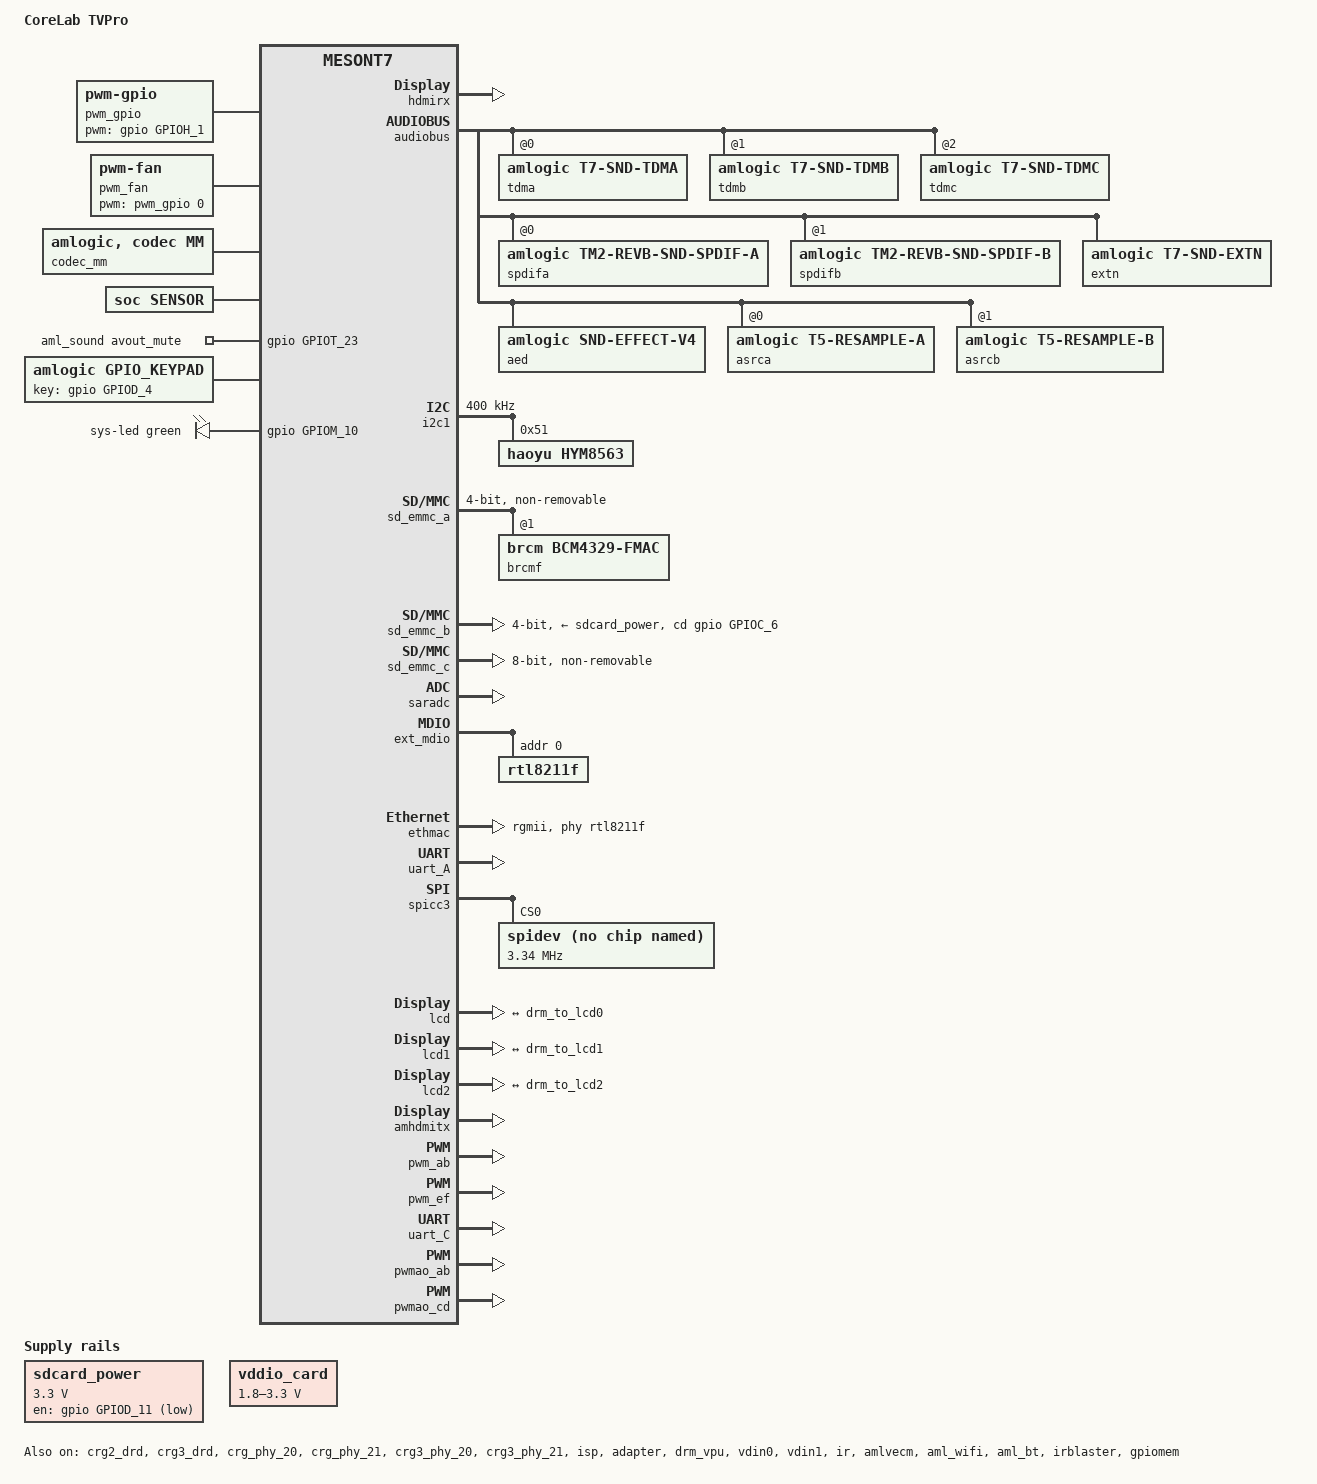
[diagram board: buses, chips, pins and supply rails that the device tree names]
// SPDX-License-Identifier: (GPL-2.0+ OR MIT)
/*
 * Copyright (c) 2023 Khadas Technology Co.,Ltd. All rights reserved.
 * Copyright (c) 2025 retro98boy <retro98boy@qq.com>
 */

/*
 * Base on https://github.com/khadas/common_drivers/blob/khadas-vims-5.15.y/arch/arm64/boot/dts/amlogic/kvim4.dts
 * branch: khadas-vims-5.15.y
 * Date: Aug 22, 2024
 * Commit: e66ced74ddc2fc7148ac0a180e3e15d5809c8e62
 */

/dts-v1/;

#include "mesont7.dtsi"
#include "partition_debian_linux.dtsi"
#include <dt-bindings/input/input.h>
#include "khadas-panel.dtsi"
#include "mesont7_drm.dtsi"
#include "meson-ir-map-linux.dtsi"
#include <dt-bindings/leds/common.h>

/ {
	model = "CoreLab TVPro";
	amlogic-dt-id = "t7-a311d2-tvpro-8g";
	compatible = "t7-a311d2-tvpro-8g";
	interrupt-parent = <&gic>;
	#address-cells = <2>;
	#size-cells = <2>;

	aliases {
		serial0 = &uart_A;
		serial1 = &uart_C;
		serial2 = &uart_B;
		serial3 = &uart_D;
		serial4 = &uart_E;
		serial5 = &uart_F;
		i2c0 = &i2c0;
		i2c1 = &i2c1;
		i2c2 = &i2c2;
		i2c3 = &i2c3;
		i2c4 = &i2c4;
		i2c5 = &i2c5;
		i2c6 = &i2c_AO_A;
		i2c7 = &i2c_AO_B;
		spi0 = &spifc;
		spi1 = &spicc0;
		spi2 = &spicc1;
		spi3 = &spicc2;
		spi4 = &spicc3;
		spi5 = &spicc4;
		spi6 = &spicc5;
		tsensor0 = &a73_tsensor;
		tsensor1 = &a53_tsensor;
		tsensor2 = &gpu_tsensor;
		tsensor3 = &nna_tsensor;
		tsensor4 = &hevc_tsensor;
		tsensor5 = &vpu_tsensor;
		mmc0 = &sd_emmc_c;
		mmc1 = &sd_emmc_b;
		mmc2 = &sd_emmc_a;
		rtc0 = &hym8563;
		rtc99 = &vrtc;
	};

	memory@00000000 {
		device_type = "memory";
		linux,usable-memory = <0x00000000 0x00000000 0x00000000 0xE0000000
								0x00000001 0x00000000 0x00000000 0xE0000000
								0x00000002 0x00000000 0x00000000 0x40000000>;
	};

	reserved-memory {
		#address-cells = <2>;
		#size-cells = <2>;
		ranges;

		ramdump_bl33z@00000000 {
			reg = <0x0 0x0 0x0 0x1800000>; /* 0 ~ 24MiB */
			status = "disabled";
		};

		/* global autoconfigured region for contiguous allocations */
		ramoops@0x07400000 {
			compatible = "ramoops";
			reg = <0x0 0x07400000 0x0 0x00100000>;
			record-size = <0x20000>;
			console-size = <0x40000>;
			ftrace-size = <0x80000>;
			pmsg-size = <0x20000>;
		};

		dmc_reserved: linux,dmc_monitor {
			compatible = "amlogic,dmc_monitor-reserved";
			reg = <0x0 0x0 0x0 0x80000>;
		};

		debug_reserved: linux,iotrace {
			compatible = "amlogic, iotrace";
			reg = <0x0 0x04f00000 0x0 0x00100000>;
			io-size = <0x1b000>;
			sched-size = <0x2000>;
			irq-size = <0x1000>;
			smc-size = <0x1000>;
			misc-size = <0x1000>;
		};

		secmon_reserved: linux,secmon {
			compatible = "shared-dma-pool";
			/* reusable; */
			no-map;
			size = <0x0 0x3400000>;
			alignment = <0x0 0x400000>;
			alloc-ranges = <0x0 0x05000000 0x0 0x3400000>;
		};

		dsp_fw_reserved0: linux,dsp_fw0 {
			compatible = "amlogic, dsp";
			reusable;
			size = <0x0 0x800000>;
			reg = <0x0 0x40000000 0x0 0x800000>;
		};

		dsp_fw_reserved1: linux,dsp_fw1 {
			compatible = "amlogic, dsp";
			reusable;
			size = <0x0 0x800000>;
			reg = <0x0 0x40800000 0x0 0x800000>;
		};

		/*
		dsp_shm_reserved: linux,dsp_shm {
			compatible = "dspshmem";
			reg = <0x0 0x40820000 0x0 0x80000>;
			size = <0x80000>;
		};
		*/

		logo_reserved: linux,meson-fb {
			compatible = "amlogic, meson-fb";
			reusable;
			size = <0x0 0x800000>;
			alignment = <0x0 0x400000>;
			reg = <0x0 0x3f800000 0x0 0x800000>;
		};

		codec_mm_cma: linux,codec_mm_cma {
			compatible = "shared-dma-pool";
			reusable;
			/* ion_codec_mm max can alloc size 80M */
			size = <0x0 0x1fc00000>;
			alignment = <0x0 0x400000>;
			linux,contiguous-region;
			alloc-ranges = <0x0 0x0 0x0 0xe0000000>;
			clear-map;
		};

		ge2d_cma_reserved: linux,ge2d_cma {
			compatible = "shared-dma-pool";
			reusable;
			status = "okay";
			size = <0x0 0x1800000>;
			alignment = <0x0 0x400000>;
		};

		/* di CMA pool */
		di_cma_reserved: linux,di_cma {
			compatible = "shared-dma-pool";
			reusable;
			/* buffer_size = 3621952(yuv422 8bit)
			 *  | 4736064(yuv422 10bit)
			 *  | 4074560(yuv422 10bit full pack mode)
			 * 10 x 3621952 = 34.6M(0x23) support 8bit
			 * 10 x 4736064 = 45.2M(0x2e) support 12bit
			 * 10 x 4074560 = 40M(0x28) support 10bit
			 */
			/* size = <0x0 0x0B000000>; */
			size = <0x0 0x0>;
			alignment = <0x0 0x400000>;
			alloc-ranges = <0x0 0x0 0x0 0xe0000000>;
		};

		/* POST PROCESS MANAGER */
		ppmgr_reserved: linux,ppmgr {
			compatible = "shared-dma-pool";
			size = <0x0 0x0>;
			alloc-ranges = <0x0 0x0 0x0 0xe0000000>;
		};

		isp_cma_reserved: linux,isp_cma {
			compatible = "shared-dma-pool";
			reusable;
			status = "okay";
			size = <0x0 0x8000000>;
			alignment = <0x0 0x400000>;
			alloc-ranges = <0x0 0x0 0x0 0xe0000000>;
		};

		adapt_cma_reserved: linux,adapt_cma {
			compatible = "shared-dma-pool";
			reusable;
			status = "okay";
			size = <0x0 0x4000000>;
			alignment = <0x0 0x400000>;
			alloc-ranges = <0x0 0x0 0x0 0xe0000000>;
		};

		ion_cma_reserved: linux,ion-dev {
			compatible = "shared-dma-pool";
			reusable;
			size = <0x0 0x0>;
			alignment = <0x0 0x400000>;
			alloc-ranges = <0x0 0x0 0x0 0xe0000000>;
		};

		/* secure ion for gpu, advice size is 0x8000000 */
		ion_secure_reserved: linux,ion-secure {
			compatible = "amlogic, ion-secure-mem";
			no-map;
			size = <0x0 0x0>;
			alignment = <0x0 0x400000>;
			alloc-ranges = <0x0 0x0 0x0 0xe0000000>;
		};

		ion_fb_reserved: linux,ion-fb {
			compatible = "shared-dma-pool";
			reusable;
			/* 1920 x 1080 x 4 x 6 + 3840 x 2160 x 4 x 3 round up 4M align */
			size = <0x0 0x0>;
			alignment = <0x0 0x400000>;
			alloc-ranges = <0x0 0x0 0x0 0xe0000000>;
		};

		/* codec shared reserved */
		codec_mm_reserved: linux,codec_mm_reserved {
			compatible = "amlogic, codec-mm-reserved";
			size = <0x0 0x0>;
			alignment = <0x0 0x100000>;
			alloc-ranges = <0x0 0x0 0x0 0xe0000000>;
			/* no-map; */
		};

		secure_vdec_reserved: linux,secure_vdec_reserved {
			compatible = "amlogic, secure-vdec-reserved";
			no-map;
			size = <0x0 0x1000000>;
			alignment = <0x0 0x100000>;
			alloc-ranges = <0x0 0x0 0x0 0xe0000000>;
		};

		dmaheap_cma_reserved: heap-gfx {
			compatible = "shared-dma-pool";
			reusable;
			size = <0x0 0x12C00000>;
			alignment = <0x0 0x400000>;
		};

		dmaheap_fb_reserved: heap-fb {
			compatible = "shared-dma-pool";
			reusable;
			size = <0x0 0x0>;
			alignment = <0x0 0x400000>;
		};

		/* vdin0 CMA pool */
		/*
		vdin0_cma_reserved: linux,vdin0_cma {
		compatible = "shared-dma-pool";
			reusable;
			size = <0x0 0x01400000>;
			alignment = <0x0 0x400000>;
		};
		*/

		/* vdin1 CMA pool */
		vdin1_cma_reserved: linux,vdin1_cma {
			compatible = "shared-dma-pool";
			reusable;
			/*
			 * up to 1920x1080 yuv422 8bit and 5 buffers
			 * 1920 x 1080 x 2 x 5 = 20M
			 */
			size = <0x0 0x01400000>;
			alignment = <0x0 0x400000>;
			alloc-ranges = <0x0 0x0 0x0 0xe0000000>;
		};

		ldc_mem_reserved: linux,ldc_mem {
			compatible = "shared-dma-pool";
			reusable;
			size = <0x0 0x400000>;
			alignment = <0x0 0x400000>;
		};

		/* global autoconfigured region for contiguous allocations */
		linux,cma {
			compatible = "shared-dma-pool";
			reusable;
			size = <0x0 0x800000>;
			alignment = <0x0 0x400000>;
			linux,cma-default;
		};

		pcie_dma_ops_mm: linux,pcie_dma_ops {
			compatible = "shared-dma-pool";
			status = "okay";
			reusable;
			size = <0x0 0x20000000>;
			alignment = <0x0 0x400000>;
			alloc-ranges = <0x0 0x0 0x0 0xe0000000>;
		};
	};

	pwm_gpio: pwm-gpio {
		compatible = "pwm-gpio";
		#pwm-cells = <3>;
		pwm-gpios = <&gpio GPIOH_1 GPIO_ACTIVE_HIGH>;
	};

	pwm_fan: pwm-fan {
		compatible = "pwm-fan";
		pwms = <&pwm_gpio 0 40000 1>;
		cooling-min-state = <0>;
		cooling-max-state = <3>;
		#cooling-cells = <2>;
		cooling-levels = <0 120 170 220>;
	};

	smmu: aml_smmu {
		compatible = "amlogic,smmu";
		status = "okay";
		#iommu-cells = <1>;
		memory-region = <&pcie_dma_ops_mm>;
	};

	sdcard_power: regulator-sdcard {
		compatible = "regulator-fixed";
		regulator-name = "SDCARD_POWER";
		regulator-min-microvolt = <3300000>;
		regulator-max-microvolt = <3300000>;
		gpio = <&gpio GPIOD_11 GPIO_ACTIVE_LOW>;
		regulator-boot-on;
		enable-active-low;
		regulator-always-on;
	};

	vddio_card: gpio-regulator {
		compatible = "regulator-gpio";
		regulator-name = "VDDIO_CARD";
		regulator-min-microvolt = <1800000>;
		regulator-max-microvolt = <3300000>;
		gpios = <&gpio GPIOD_9 GPIO_ACTIVE_HIGH>;
		gpios-states = <1>;
		states = <1800000 1 3300000 0>;
	};

	codec_mm {
		compatible = "amlogic, codec, mm";
		memory-region = <&codec_mm_cma &codec_mm_reserved &secure_vdec_reserved>;
		dev_name = "codec_mm";
		status = "okay";
	};

	multi-di {
		/* status = "okay"; */
		/***************************************************
		 * memory: default is 4
		 *	0: use reserved
		 *	1: use cma
		 *	2: use cma as reserved
		 *  4: use codec mem
		 ***************************************************/
		/* flag_cma = <4>; */
		/* memory-region = <&di_cma_reserved>; */
		/***************************************************
		 * clock-range: <min max>
		 *	default: <334 334>
		 ***************************************************/
		/* clock-range = <334 334>; */
		/***************************************************
		 * en_4k: t5d not support 4k
		 ***************************************************/
		en_4k = <0>;
		/* keep_dec_vf = <2>; */
		po_fmt = <0>;
		/***************************************************
		 * post_nub: default is 11 (T7/T3/SC2/S4 new path)
		 * local 7 * 4075520 = 28
		 * post 11 * 5222400 = 56
		 ***************************************************/
		/* post_nub = <11>; */
		/***************************************************
		 * 0: not support
		 * bit 0: for 4k
		 * bit 1: for 1080p
		 ***************************************************/
		alloc_sct = <0>;
		/***************************************************
		 * hf: default is 0 (T7/T3/SC2/S4 new path)
		 * 0: not enable
		 * 1: enable
		 ***************************************************/
		/* hf = <0>; */
	};

	unifykey {
		compatible = "amlogic,unifykey";
		status = "okay";
		unifykey-num = <19>;
		unifykey-index-0 = <&keysn_0>;
		unifykey-index-1 = <&keysn_1>;
		unifykey-index-2 = <&keysn_2>;
		unifykey-index-3 = <&keysn_3>;
		unifykey-index-4 = <&keysn_4>;
		unifykey-index-5 = <&keysn_5>;
		unifykey-index-6 = <&keysn_6>;
		unifykey-index-7 = <&keysn_7>;
		unifykey-index-8 = <&keysn_8>;
		unifykey-index-9 = <&keysn_9>;
		unifykey-index-10 = <&keysn_10>;
		unifykey-index-11 = <&keysn_11>;
		unifykey-index-12 = <&keysn_12>;
		unifykey-index-13 = <&keysn_13>;
		unifykey-index-14 = <&keysn_14>;
		unifykey-index-15 = <&keysn_15>;
		unifykey-index-16 = <&keysn_16>;
		unifykey-index-17 = <&keysn_17>;
		unifykey-index-18 = <&keysn_18>;
		unifykey-index-19 = <&keysn_19>;
		unifykey-index-20 = <&keysn_20>;
		unifykey-index-21 = <&keysn_21>;

		keysn_0: key_0 {
			key-name = "usid";
			key-device = "normal";
			key-permit = "read", "write", "del";
		};
		keysn_1: key_1 {
			key-name = "mac";
			key-device = "normal";
			key-permit = "read", "write", "del";
		};
		keysn_2: key_2 {
			key-name = "hdcp";
			key-device = "secure";
			key-type = "sha1";
			key-permit = "read", "write", "del";
		};
		keysn_3: key_3 {
			key-name = "secure_boot_set";
			key-device = "efuse";
			key-permit = "write";
		};
		keysn_4: key_4 {
			key-name = "mac_bt";
			key-device = "normal";
			key-permit = "read", "write", "del";
			key-type  = "mac";
		};
		keysn_5: key_5 {
			key-name = "mac_wifi";
			key-device = "normal";
			key-permit = "read", "write", "del";
			key-type = "mac";
		};
		keysn_6: key_6 {
			key-name = "hdcp2_tx";
			key-device = "normal";
			key-permit = "read", "write", "del";
		};
		keysn_7: key_7 {
			key-name = "hdcp2_rx";
			key-device = "normal";
			key-permit = "read", "write", "del";
		};
		keysn_8: key_8 {
			key-name = "widevinekeybox";
			key-device = "secure";
			key-permit = "read", "write", "del";
		};
		keysn_9: key_9 {
			key-name = "deviceid";
			key-device = "normal";
			key-permit = "read", "write", "del";
		};
		keysn_10: key_10 {
			key-name = "hdcp22_fw_private";
			key-device = "secure";
			key-permit = "read", "write", "del";
		};
		keysn_11: key_11 {
			key-name = "PlayReadykeybox25";
			key-device = "secure";
			key-permit = "read", "write", "del";
		};
		keysn_12: key_12 {
			key-name = "prpubkeybox"; /* PlayReady */
			key-device = "secure";
			key-permit = "read", "write", "del";
		};
		keysn_13: key_13 {
			key-name = "prprivkeybox"; /* PlayReady */
			key-device = "secure";
			key-permit = "read", "write", "del";
		};
		keysn_14: key_14 {
			key-name = "attestationkeybox"; /* attestation key */
			key-device = "secure";
			key-permit = "read", "write", "del";
		};
		keysn_15: key_15 {
			key-name = "region_code";
			key-device = "normal";
			key-permit = "read", "write", "del";
		};
		keysn_16: key_16 {
			key-name = "netflix_mgkid";
			key-device = "secure";
			key-permit = "read", "write", "del";
		};
		keysn_17: key_17 {
			key-name = "attestationdevidbox"; /* attest dev id box */
			key-device = "secure";
			key-permit = "read", "write", "del";
		};
		keysn_18: key_18 {
			key-name = "oemkey";
			key-device = "normal";
			key-permit = "read", "write", "del";
		};
		keysn_19: key_19 {
			key-name = "lcd";
			key-device = "normal";
			key-permit = "read", "write", "del";
		};
		keysn_20: key_20 {
			key-name = "lcd_extern";
			key-device = "normal";
			key-permit = "read", "write", "del";
		};
		keysn_21: key_21 {
			key-name = "backlight";
			key-device = "normal";
			key-permit = "read", "write", "del";
		};
	};

	/* Do not delete or disable this node, it will cause a kernel panic */
	sensor: sensor {
		compatible = "soc, sensor";
		status = "okay";
		sensor-name = "os08a10"; /* imx290/os08a10/imx227 */
		sensor-name-sub = "imx290sub";
		sensor-name-ssub = "imx290ssub";
		pinctrl-names = "default";
		power-domains = <&pwrdm PDID_T7_MIPI_ISP>;
		clocks = <&clkc CLKID_MCLK_0>,
				<&clkc CLKID_MCLK_1>,
				<&clkc CLKID_MCLK_0_PRE>,
				<&clkc CLKID_MCLK_1_PRE>,
				<&clkc CLKID_MCLK_PLL>,
				<&xtal>;
		clock-names = "mclk_0", "mclk_1", "mclk_0_pre", "mclk_1_pre", "mclk_p", "mclk_x";
		/* ir_cut_gpio = <&gpio GPIOM_11 GPIO_ACTIVE_HIGH>; */
		/* reset = <&gpio GPIOM_5 GPIO_ACTIVE_HIGH>; */
		/* For IMX415. OS08A10 doesn't have POWER PIN */
		/* pwdn = <&gpio GPIOM_11 GPIO_ACTIVE_HIGH>; */
	};

	iq: iq {
		compatible = "soc, iq";
		status = "okay";
		sensor-name = "os08a10"; /* imx290/os08a10/imx227 */
	};

	lens: lens {
		compatible = "soc, lens";
		status = "okay";
	};

	hdmirx {
		compatible = "amlogic, hdmirx_t7";
		#address-cells = <1>;
		#size-cells = <1>;
		/* memory-region = <&hdmirx_emp_cma_reserved>; */
		status = "okay";
		pinctrl-names = "hdmirx_pins";
		pinctrl-0 = <&hdmirx_a_mux &hdmirx_b_mux
			&hdmirx_c_mux>;
		repeat = <0>;
		power-domains = <&pwrdm PDID_T7_HDMIRX>;
		interrupts = <0 57 IRQ_TYPE_LEVEL_HIGH>;
		clocks = <&clkc CLKID_HDMIRX_CFG>,
			   <&clkc CLKID_HDMIRX_ACR>,
			   <&clkc CLKID_HDMIRX_METER>,
			   <&clkc CLKID_HDMIRX_2M>,
			   <&clkc CLKID_HDMIRX_5M>,
			   <&clkc CLKID_HDMIRX_HDCP>,
			   <&xtal>,
			   <&clkc CLKID_FCLK_DIV4>,
			   <&clkc CLKID_FCLK_DIV5>;
		clock-names = "hdmirx_cfg_clk",
				"cts_hdmirx_acr_ref_clk",
				"cts_hdmirx_meter_clk",
				"cts_hdmirx_2m_clk",
				"cts_hdmirx_5m_clk",
				"cts_hdmirx_hdcp2x_eclk",
				"xtal",
				"fclk_div4",
				"fclk_div5";
		hdmirx_id = <0>;
		en_4k_2_2k = <0>;
		hpd_low_cec_off = <1>;
		arc_port = <1>;
		/* bit4: enable feature, bit3 ~ 0: port number */
		disable_port = <0x0>;
		/* MAP_ADDR_MODULE_CBUS */
		/* MAP_ADDR_MODULE_HIU */
		/* MAP_ADDR_MODULE_HDMIRX_CAPB3 */
		/* MAP_ADDR_MODULE_SEC_AHB */
		/* MAP_ADDR_MODULE_SEC_AHB2 */
		/* MAP_ADDR_MODULE_APB4 */
		/* MAP_ADDR_MODULE_TOP */
		/* MAP_ADDR_MODULE_CLK_CTRL */
		reg = < 0x0 0x0 0x0 0x0
			0x0 0xff63C000 0x0 0x2000
			0x0 0xffe0d000 0x0 0x2000
			0x0 0x0 0x0 0x0
			0x0 0x0 0x0 0x0
			0x0 0x0 0x0 0x0
			0x0 0xfe398000 0x0 0x18000
			0x0 0xfe000000 0x0 0x1fff>;
	};

	aml_sound: auge_sound {
		compatible = "amlogic, auge-sound-card";
		aml-audio-card,name = "corelab-tvpro";
		avout_mute-gpios = <&gpio GPIOT_23 GPIO_ACTIVE_HIGH>;

		interrupts = <GIC_SPI 51 IRQ_TYPE_EDGE_RISING>;
		interrupt-names = "audio_exception64";

		aml-audio-card,dai-link@0 {
			format = "i2s";
			mclk-fs = <256>;
			continuous-clock;
			bitclock-master = <&tdmb>;
			frame-master = <&tdmb>;

			cpu {
				sound-dai = <&tdmb>;
				dai-tdm-slot-tx-mask = <1 1>;
				dai-tdm-slot-rx-mask = <1 1>;
				dai-tdm-slot-num = <2>;
				dai-tdm-slot-width = <32>;
				system-clock-frequency = <12288000>;
			};

			codec {
				sound-dai = <&dummy_codec>;
			};
		};

		aml-audio-card,dai-link@1 {
			mclk-fs = <128>;
			continuous-clock;

			cpu {
				sound-dai = <&spdifa>;
				system-clock-frequency = <6144000>;
			};

			codec {
				sound-dai = <&dummy_codec>;
			};
		};

		aml-audio-card,dai-link@2 {
			format = "dsp_a";
			mclk-fs = <64>;
			continuous-clock;
			bitclock-master = <&tdma>;
			frame-master = <&tdma>;

			cpu {
				sound-dai = <&tdma>;
				dai-tdm-slot-tx-mask = <1>;
				dai-tdm-slot-rx-mask = <1>;
				dai-tdm-slot-num = <2>;
				dai-tdm-slot-width = <16>;
				system-clock-frequency = <512000>;
			};

			codec {
				sound-dai = <&dummy_codec>;
			};
		};

		/*
		 * TDMOUT_C -> TOACODEC
		 * ACODEC_ADC -> TDMIN_C
		 */
		aml-audio-card,dai-link@3 {
			format = "i2s";
			mclk-fs = <256>;
			continuous-clock;
			bitclock-master = <&tdmc>;
			frame-master = <&tdmc>;

			cpu {
				sound-dai = <&tdmc>;
				dai-tdm-slot-tx-mask = <1 1>;
				dai-tdm-slot-rx-mask = <1 1>;
				dai-tdm-slot-num = <2>;
				dai-tdm-slot-width = <32>;
				system-clock-frequency = <12288000>;
			};

			codec {
				sound-dai = <&acodec>;
			};
		};

		aml-audio-card,dai-link@4 {
			mclk-fs = <128>;
			continuous-clock;

			cpu {
				sound-dai = <&spdifb>;
				system-clock-frequency = <6144000>;
			};

			codec {
				sound-dai = <&dummy_codec>;
			};
		};

		aml-audio-card,dai-link@5 {
			mclk-fs = <256>;

			cpu {
				sound-dai = <&extn>;
				system-clock-frequency = <12288000>;
			};

			codec {
				sound-dai = <&dummy_codec>;
			};
		};
	};

	gpiomem {
		compatible = "amlogic, gpiomem";
		reg = <0x0 0xfe004000 0x0 0x1000>;
		dev_name = "gpiomem";
		status = "okay";
	};

	picdec {
		compatible = "amlogic, picdec";
		status = "okay";
	};

	ppmgr {
		compatible = "amlogic, ppmgr";
		memory-region = <&ppmgr_reserved>;
		dev_name = "ppmgr";
		status = "okay";
	};

	video_queue {
		compatible = "amlogic, video_queue";
		dev_name = "videoqueue";
		status = "okay";
	};

	amdolby_vision {
		compatible = "amlogic, dolby_vision_t7";
		dev_name = "aml_amdolby_vision_driver";
		status = "okay";
		tv_mode = <0>; /* 1: enable, 0: disable */
	};

	ionvideo {
		compatible = "amlogic, ionvideo";
		dev_name = "ionvideo";
		status = "okay";
	};

	amlvideo2_0 {
		compatible = "amlogic, amlvideo2";
		dev_name = "amlvideo2";
		status = "okay";
		amlvideo2_id = <0>;
		cma_mode = <1>;
	};

	amlvideo2_1 {
		compatible = "amlogic, amlvideo2";
		dev_name = "amlvideo2";
		status = "okay";
		amlvideo2_id = <1>;
		cma_mode = <1>;
	};

	gpio_keypad {
		compatible = "amlogic, gpio_keypad";
		status = "okay";
		scan_period = <20>;
		key_num = <1>;
		key_name = "power";
		key_code = <KEY_POWER>;
		key_type = <EV_KEY>;
		key-gpios = <&gpio GPIOD_4 GPIO_ACTIVE_HIGH>;
		detect_mode = <0>; /* 0: polling mode, 1: irq mode */
	};

	gpio-leds {
		compatible = "gpio-leds";

		sys-led {
			function = LED_FUNCTION_STATUS;
			color = <LED_COLOR_ID_GREEN>;
			gpios = <&gpio GPIOM_10 GPIO_ACTIVE_HIGH>;
			linux,default-trigger = "heartbeat";
		};
	};
};

&acodec {
	tdmout_index = <2>;
	tdmin_index = <2>;
	dat0_ch_sel = <0>;
};

&audiobus {
	tdma: tdm@0 {
		compatible = "amlogic, t7-snd-tdma";
		#sound-dai-cells = <0>;

		dai-tdm-lane-slot-mask-in = <1 0>;
		dai-tdm-lane-slot-mask-out = <0 1>;
		dai-tdm-clk-sel = <0>;

		clocks = <&clkaudio CLKID_AUDIO_MCLK_A
				&clkc CLKID_HIFI_PLL
				&clkc CLKID_MPLL0>;
		clock-names = "mclk", "clk_srcpll", "clk_src_cd";
		src-clk-freq = <491520000>;
	};

	tdmb: tdm@1 {
		compatible = "amlogic, t7-snd-tdmb";
		#sound-dai-cells = <0>;

		dai-tdm-lane-slot-mask-in = <1 1 1 1>;
		dai-tdm-lane-slot-mask-out = <1 1 1 1>;
		dai-tdm-clk-sel = <1>;

		clocks = <&clkaudio CLKID_AUDIO_MCLK_B
				&clkc CLKID_HIFI_PLL
				&clkc CLKID_MPLL1>;
		clock-names = "mclk", "clk_srcpll", "clk_src_cd";
		src-clk-freq = <491520000>;

		samesource_sel = <3>; /* Same FRDDR as SPDIFOUT_A */

		Channel_Mask {
			Spdif_samesource_Channel_Mask = "i2s_0/1";
		};
	};

	tdmc: tdm@2 {
		compatible = "amlogic, t7-snd-tdmc";
		#sound-dai-cells = <0>;

		dai-tdm-lane-slot-mask-in = <1 1 1 1>;
		dai-tdm-lane-slot-mask-out = <1 1 1 1>;
		dai-tdm-clk-sel = <2>;

		clocks = <&clkaudio CLKID_AUDIO_MCLK_C
				&clkc CLKID_HIFI_PLL
				&clkc CLKID_MPLL2>;
		clock-names = "mclk", "clk_srcpll", "clk_src_cd";
		src-clk-freq = <491520000>;

		tdmin-src-name = "acodec_adc";
	};

	spdifa: spdif@0 {
		compatible = "amlogic, tm2-revb-snd-spdif-a";
		#sound-dai-cells = <0>;

		clocks = <&clkc CLKID_HIFI_PLL
				&clkc CLKID_MPLL0
				&clkc CLKID_FCLK_DIV4
				&clkaudio CLKID_AUDIO_GATE_SPDIFIN
				&clkaudio CLKID_AUDIO_GATE_SPDIFOUT_A
				&clkaudio CLKID_AUDIO_SPDIFIN
				&clkaudio CLKID_AUDIO_SPDIFOUT_A>;
		clock-names = "sysclk", "clk_src_cd", "fixed_clk", "gate_spdifin",
				"gate_spdifout", "clk_spdifin", "clk_spdifout";
		src-clk-freq = <491520000>;

		interrupts = <GIC_SPI 35 IRQ_TYPE_EDGE_RISING>;
		interrupt-names = "irq_spdifin";
	};

	spdifb: spdif@1 {
		compatible = "amlogic, tm2-revb-snd-spdif-b";
		#sound-dai-cells = <0>;

		clocks = <&clkc CLKID_HIFI_PLL
				&clkc CLKID_MPLL2
				&clkaudio CLKID_AUDIO_GATE_SPDIFOUT_B
				&clkaudio CLKID_AUDIO_SPDIFOUT_B>;
		clock-names = "sysclk", "clk_src_cd",
				"gate_spdifout", "clk_spdifout";
		src-clk-freq = <491520000>;
	};

	extn: extn {
		compatible = "amlogic, t7-snd-extn";
		#sound-dai-cells = <0>;

		interrupts = <GIC_SPI 42 IRQ_TYPE_EDGE_RISING>;
		interrupt-names = "irq_frhdmirx";
	};

	aed: effect {
		compatible = "amlogic, snd-effect-v4";
		#sound-dai-cells = <0>;

		clocks = <&clkaudio CLKID_AUDIO_GATE_EQDRC
			&clkc CLKID_FCLK_DIV5
			&clkaudio CLKID_AUDIO_EQDRC>;
		clock-names = "gate", "srcpll", "eqdrc";

		eqdrc_module = <1>;
		/* Max 0xf, each bit for one lane, usually one lane */
		lane_mask = <0x1>;
		/* Max 0xff, each bit for one channel */
		channel_mask = <0xff>;
	};

	asrca: resample@0 {
		compatible = "amlogic, t5-resample-a";
		clocks = <&clkc CLKID_MPLL1
			&clkaudio CLKID_AUDIO_MCLK_B
			&clkaudio CLKID_AUDIO_RESAMPLE_A>;
		clock-names = "resample_pll", "resample_src", "resample_clk";

		resample_module = <8>;
	};

	asrcb: resample@1 {
		compatible = "amlogic, t5-resample-b";
		clocks = <&clkc CLKID_MPLL3
			&clkaudio CLKID_AUDIO_MCLK_F
			&clkaudio CLKID_AUDIO_RESAMPLE_B>;
		clock-names = "resample_pll", "resample_src", "resample_clk";

		/* This resample is only used for LOOPBACK_A */
		capture_sample_rate = <16000>;
	};
};

&earc {
	status = "disabled";
};

/* RJ45 Side USB Type-A */
&crg_udc_2 {
	status = "disabled";
};

/* DC Side USB Type-A */
&crg_udc_3 {
	status = "disabled";
};

/* DC Side USB Type-A */
&crg20_otg {
	status = "disabled";
	controller-type = <2>;
};

/* RJ45 Side USB Type-A */
&crg21_otg {
	status = "disabled";
	controller-type = <2>;
};

/* RJ45 Side USB Type-A */
&crg2_drd {
	/* compatible = "amlogic, crg-drd"; */
	compatible = "amlogic, crg-host-drd";
	status = "okay";
};

/* DC Side USB Type-A */
&crg3_drd {
	/* compatible = "amlogic, crg-drd"; */
	compatible = "amlogic, crg-host-drd";
	status = "okay";
};

&crg_phy_20 {
	status = "okay";
	portnum = <1>;
	gpio-vbus-power = "GPIOH_4";
	gpios = <&gpio GPIOH_4 GPIO_ACTIVE_HIGH>;
};

&crg_phy_21 {
	status = "okay";
	portnum = <1>;
	gpio-vbus-power = "GPIOH_5";
	gpios = <&gpio GPIOH_5 GPIO_ACTIVE_HIGH>;
};

&crg3_phy_20 {
	status = "okay";
	portnum = <1>;
};

/*
 * On the A311D2, this Corigine USB module only exposes USB 2.0,
 * which can be used for firmware download during BootROM.
 * Therefore, the port number (portnum) for USB 3.0 is 0.
 */
&crg3_phy_21 {
	status = "okay";
	portnum = <0>;
};

&i2c1 {
	status = "okay";
	pinctrl-names = "default";
	pinctrl-0 = <&i2c1_pins1>;
	clock-frequency = <400000>;

	hym8563: rtc@51 {
		compatible = "haoyu,hym8563";
		reg = <0x51>;
		#clock-cells = <0>;
	};
};

/* SDIO */
&sd_emmc_a {
	status = "okay";
	pinctrl-0 = <&sdio_pins>;
	pinctrl-1 = <&sdio_clk_gate_pins>;
	pinctrl-names = "default", "clk-gate";
	#address-cells = <1>;
	#size-cells = <0>;

	bus-width = <4>;
	cap-sd-highspeed;
	sd-uhs-sdr50;
	sd-uhs-sdr104;
	max-frequency = <200000000>;

	non-removable;
	disable-wp;

	/*
	vmmc-supply = <&vddao_3v3>;
	vqmmc-supply = <&vddio_ao1v8>;
	*/

	brcmf: wifi@1 {
		reg = <1>;
		compatible = "brcm,bcm4329-fmac";
	};
};

/* SD card */
&sd_emmc_b {
	status = "okay";
	pinctrl-0 = <&sd_all_pins>;
	pinctrl-1 = <&sd_1bit_pins>;
	pinctrl-2 = <&sd_clk_gate_pins>;
	pinctrl-names = "sd_default",
			"sd_1bit_pins",
			"clk-gate";
	bus-width = <4>;
	cap-sd-highspeed;
	sd-uhs-sdr12;
	sd-uhs-sdr25;
	sd-uhs-sdr50;
	sd-uhs-sdr104;
	max-frequency = <200000000>;

	disable-wp;

	cd-gpios = <&gpio GPIOC_6 GPIO_ACTIVE_HIGH>;
	/* dat1-gpios = <&gpio GPIOC_1 GPIO_ACTIVE_HIGH>; */
	vmmc-supply = <&sdcard_power>;
	vqmmc-supply = <&vddio_card>;
};

/* eMMC */
&sd_emmc_c {
	status = "okay";
	pinctrl-0 = <&emmc_pins>, <&emmc_ds_pins>;
	pinctrl-1 = <&emmc_clk_gate_pins>;
	pinctrl-names = "default", "clk-gate";

	bus-width = <8>;
	cap-mmc-highspeed;
	mmc-ddr-1_8v;
	mmc-hs200-1_8v;
	mmc-hs400-1_8v;
	/* mmc-hs400-enhanced-strobe; */
	max-frequency = <200000000>;
	non-removable;
	disable-wp;

	/*
	mmc-pwrseq = <&emmc_pwrseq>;
	vmmc-supply = <&vddao_3v3>;
	vqmmc-supply = <&vddao_1v8>;
	*/
};

&saradc {
	status = "okay";
};

&ext_mdio {
	rtl8211f: rtl8211f@0 {
		reg = <0>;
		max-speed = <1000>;
		reset-assert-us = <20000>;
		reset-deassert-us = <50000>;
	};
};

&ethmac {
	pinctrl-0 = <&eth_pins>, <&eth_rgmii_pins>;
	pinctrl-names = "default";
	status = "okay";
	phy-mode = "rgmii";
	phy-handle = <&rtl8211f>;
	internal_phy = <2>;
	mc_val = <0x1621>;
	cali_val = <0xa0000>;
	amlogic,tx-delay-ns = <2>;
};

/* debug */
&uart_A {
	status = "okay";
};

&isp {
	status = "okay";
	temper-line-offset = <0x1680>;
	temper-buf-size = <6>;
	temper-frame-num = <1>;
	temper-frame-size = <0x5eec00>;
	temper-line-offset1 = <0x1680>;
	temper-buf-size1 = <6>;
	temper-frame-num1 = <1>;
	temper-frame-size1 = <0x5eec00>;
	temper-line-offset2 = <0x1680>;
	temper-buf-size2 = <6>;
	temper-frame-num2 = <1>;
	temper-frame-size2 = <0x5eec00>;
	memory-region = <&isp_cma_reserved>;
};

&adapter {
	status = "okay";
	mem_alloc = <32>;
	mem_alloc1 = <16>;
	mem_alloc2 = <16>;
	memory-region = <&adapt_cma_reserved>;
};

&spicc3_pins {
	mux {
		groups = "spi3_mosi",
			 "spi3_miso",
			 "spi3_ss0",
			 "spi3_sclk";
		function = "spi3";
		drive-strength-microamp = <2000>;
	};
};

&spicc3 {
	status = "okay";
	pinctrl-names = "default";
	pinctrl-0 = <&spicc3_pins>;
	/* cs-gpios = <&gpio GPIOT_9 GPIO_ACTIVE_LOW>; */
	/* cs-gpios = <&gpio GPIOT_4 GPIO_ACTIVE_LOW>; */

	spidev@0 {
		compatible = "rohm,dh2228fv";
		reg = <0>;
		spi-max-frequency = <3340000>;
	};
};

&fb {
	status = "disabled";
	display_size_default = <3840 2160 3840 4320 32>;
	mem_size = <0x00800000 0x4000000 0x100000 0x100000 0x100000>;
	4k2k_fb = <1>;
	display_device_cnt = <2>;
	logo_addr = "0x3f800000";
	mem_alloc = <0>;
	pxp_mode = <0>; /* 0: normal mode, 1: pxp mode */
};

&amvideom {
	display_device_cnt = <2>;
	vpp0_layer_count = <2>;
	/* number of video layer display on vpp1 */
	vpp1_layer_count = <1>;
};

&drm_vpu {
	status = "okay";
	logo_addr = "0x3f800000";

	connectors_dev: port@1 {
		drm_to_lcd0: endpoint@2 {
			reg = <2>;
			remote-endpoint = <&lcd0_to_drm>;
		};
		drm_to_lcd1: endpoint@3 {
			reg = <3>;
			remote-endpoint = <&lcd1_to_drm>;
		};
		drm_to_lcd2: endpoint@4 {
			reg = <4>;
			remote-endpoint = <&lcd2_to_drm>;
		};
	};
};

&drm_subsystem {
	crtc_masks = <3 7 1>;
	dummyl_from_hdmitx = /bits/ 8  <1>;
};

&lcd {
	ports {
		port {
			#address-cells = <1>;
			#size-cells = <0>;
			lcd0_to_drm: endpoint@0 {
				reg = <0>;
				remote-endpoint = <&drm_to_lcd0>;
			};
		};
	};
};

&lcd1 {
	ports {
		port {
			lcd1_to_drm: endpoint@0 {
				reg = <0>;
				remote-endpoint = <&drm_to_lcd1>;
			};
		};
	};
};

&lcd2 {
	ports {
		port {
			lcd2_to_drm: endpoint@0 {
				reg = <0>;
				remote-endpoint = <&drm_to_lcd2>;
			};
		};
	};
};

&amhdmitx {
	status = "okay";
	repeater_tx = <0>;
	enc_idx = <2>;
	vrr_type = <2>; /* 1: GAME-VRR, 2: QMS-VRR */
	hdmi_repeater = <1>;
	/* hdcp ctrl 0: sysctrl, 1: drv, 2: linux app */
	hdcp_ctl_lvl = <1>;
	max_refreshrate = <120>; /* SH-17689 DEBUG*/
};

/* if you want to use vdin just modify status to "okay" */
&vdin0 {
	/* memory-region = <&vdin0_cma_reserved>; */
	status = "okay";
	/*
	 * MByte, if 10bit disable: 64M(YUV422),
	 * if 10bit enable: 64 * 1.5 = 96M(YUV422)
	 * if support 4K2K-YUV444-10bit-WR: 3840 * 2160 * 4 * 4 ~= 128M
	 * if support 4K2K-YUV422-10bit-wr: 3840 * 2160 * 3 * 4 ~= 96M
	 * if support 4K2K-YUV422-8BIT-WR: 3840 * 2160 * 2 * 4 ~= 64M
	 * if support 1080p-YUV422-8BIT-WR: 1920 * 1080 * 2 * 4 ~= 16M
	 *  onebuffer:
	 *  worst case: (4096 * 2160 * 3 + 2M(afbce issue)) = 27.5M
	 *  dw: 960 x 540 x 3 = 1.5M
	 *  total size: (27.5 + 1.5) x buffernumber
	 */
	cma_size = <280>;
	frame_buff_num = <10>;
	vdin_function_sel = <0x101>;
};

&vdin1 {
	memory-region = <&vdin1_cma_reserved>;
	status = "okay";
	vdin_function_sel = <0x400>;
};

&periphs_pinctrl {
	lcd_vbyone_a_off_pins: lcd_vbyone_a_off_pin {
		mux {
			groups = "GPIOY_10","GPIOY_12";
			function = "gpio_periphs";
			input-enable;
		};
	};

	lcd_vbyone_b_off_pins: lcd_vbyone_b_off_pin {
		mux {
			groups = "GPIOY_11","GPIOY_13";
			function = "gpio_periphs";
			input-enable;
		};
	};

	lcd_edp_a_off_pins: lcd_edp_a_off_pin {
		mux {
			groups = "GPIOY_10";
			function = "gpio_periphs";
			input-enable;
		};
	};

	lcd_edp_b_off_pins: lcd_edp_b_off_pin {
		mux {
			groups = "GPIOY_11";
			function = "gpio_periphs";
			input-enable;
		};
	};

	bl_pwm_vs_on_pins: bl_pwm_vs_on_pin {
		mux {
			groups = "pwm_vs_y";
			function = "pwm_vs";
		};
	};

	bl_pwm_vs_off_pins: bl_pwm_vs_off_pin {
		mux {
			groups = "GPIOY_14";
			function = "gpio_periphs";
			output-low;
		};
	};

	bl_pwm_off_pins: bl_pwm_off_pin {
		mux {
			groups = "GPIOY_1";
			function = "gpio_periphs";
			output-low;
		};
	};

	bl1_pwm_off_pins: bl1_pwm_off_pin {
		mux {
			groups = "GPIOY_8";
			function = "gpio_periphs";
			output-low;
		};
	};
};

&ir {
	status = "okay";
	pinctrl-0 = <&remote_pins>;
	pinctrl-names = "default";
	/* For linux platforms, use custom_maps_linux to override the default custom_maps in the IR */
	map = <&custom_maps_linux>;
};

&amlvecm {
	status = "okay";
	gamma_en = <0>; /* 1: enable; 0: disable */
	wb_en = <0>; /* 1: enable; 0: disable */
	cm_en = <0>; /* 1: enable; 0: disable */
	wb_sel = <0>; /* 1: mtx; 0: gainoff */
	vlock_en = <1>; /* 1: enable; 0: disable */
	vlock_mode = <0x8>;
	/*
	 * vlock work mode
	 * bit0: auto ENC
	 * bit1: auto PLL
	 * bit2: manual PLL
	 * bit3: manual ENC
	 * bit4: manual soft ENC
	 * bit5: manual MIX PLL ENC
	 */
	vlock_pll_m_limit = <1>;
	vlock_line_limit = <2>;
};

&aml_wifi{
	status = "okay";
	interrupt-gpios = <&gpio GPIOX_7 GPIO_ACTIVE_HIGH>;
	power_on-gpios = <&gpio GPIOX_6 GPIO_ACTIVE_HIGH>;
};

&aml_bt {
	status = "okay";
	reset-gpios = <&gpio GPIOX_17 GPIO_ACTIVE_HIGH>;
	hostwake-gpios = <&gpio GPIOX_19 GPIO_ACTIVE_HIGH>;
	power_down_disable = <1>;
};

&pwm_ab {
	pinctrl-0 = <&pwm_a_pins>;
	pinctrl-names = "default";
	status = "okay";
};

&pwm_ef {
	status = "okay";
};

&irblaster {
	status = "okay";
};

/* BT */
&uart_C {
	status = "okay";
	uart-has-rtscts;
	uart_for_bt = <1>;
};

&pwmao_ab {
	status = "okay";
};

&pwmao_cd {
	pinctrl-names = "default";
	pinctrl-0 = <&pwm_ao_d_pins>;
	status = "okay";
};

&vddcpua {
	status = "okay";
};

&vddcpub {
	status = "okay";
};

&aml_reboot {
	sd_power_en_gpio = <&gpio GPIOD_11 GPIO_ACTIVE_LOW>;
};

&wdt {
	/* 0: userspace, 1: kernel */
	amlogic,feed_watchdog_mode = <0>;
};

&CPU0 {
	cpu-supply = <&vddcpua>;
	multi_tables_available;
	operating-points-v2 = <&a73pwm_opp_table0>,
		<&a73pwm_opp_table1>,
		<&a73pwm_opp_table2>,
		<&a73pwm_opp_table3>;
};

&CPU1 {
	cpu-supply = <&vddcpua>;
	multi_tables_available;
	operating-points-v2 = <&a73pwm_opp_table0>,
		<&a73pwm_opp_table1>,
		<&a73pwm_opp_table2>,
		<&a73pwm_opp_table3>;
};

&CPU2 {
	cpu-supply = <&vddcpua>;
	multi_tables_available;
	operating-points-v2 = <&a73pwm_opp_table0>,
		<&a73pwm_opp_table1>,
		<&a73pwm_opp_table2>,
		<&a73pwm_opp_table3>;
};

&CPU3 {
	cpu-supply = <&vddcpua>;
	multi_tables_available;
	operating-points-v2 = <&a73pwm_opp_table0>,
		<&a73pwm_opp_table1>,
		<&a73pwm_opp_table2>,
		<&a73pwm_opp_table3>;
};

&CPU4 {
	cpu-supply = <&vddcpub>;
	multi_tables_available;
	operating-points-v2 = <&a53pwm_opp_table0>,
		<&a53pwm_opp_table1>,
		<&a53pwm_opp_table2>,
		<&a53pwm_opp_table3>;
};

&CPU5 {
	cpu-supply = <&vddcpub>;
	multi_tables_available;
	operating-points-v2 = <&a53pwm_opp_table0>,
		<&a53pwm_opp_table1>,
		<&a53pwm_opp_table2>,
		<&a53pwm_opp_table3>;
};

&CPU6 {
	cpu-supply = <&vddcpub>;
	multi_tables_available;
	operating-points-v2 = <&a53pwm_opp_table0>,
		<&a53pwm_opp_table1>,
		<&a53pwm_opp_table2>,
		<&a53pwm_opp_table3>;
};

&CPU7 {
	cpu-supply = <&vddcpub>;
	multi_tables_available;
	operating-points-v2 = <&a53pwm_opp_table0>,
		<&a53pwm_opp_table1>,
		<&a53pwm_opp_table2>,
		<&a53pwm_opp_table3>;
};

&ge2d {
	memory-region = <&ge2d_cma_reserved>;
};
